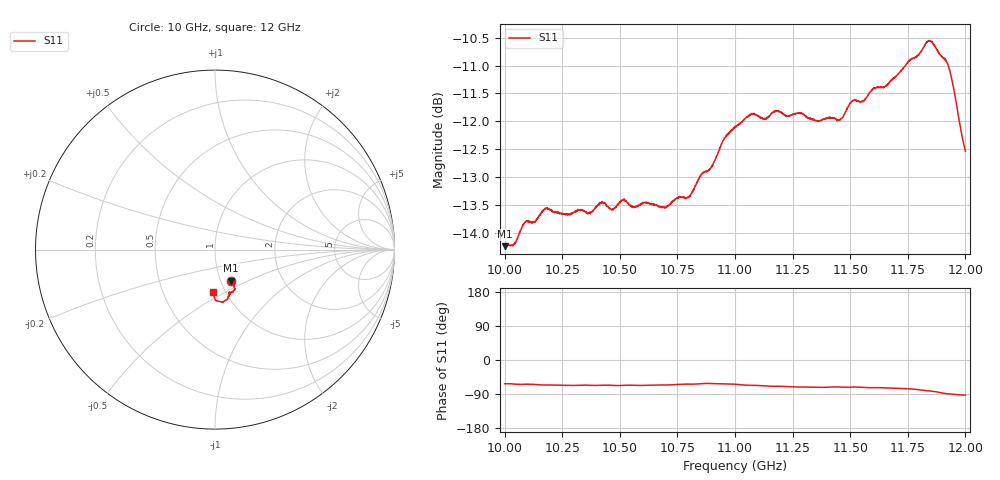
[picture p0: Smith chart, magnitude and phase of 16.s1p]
[Version] 2.0
! Rohde & Schwarz Vector Network Analyzer
! Rohde-Schwarz,ZNL20-2Port,1323001220200009,1.71.1.10-23.02.1.238
! Port Assignments:
! Nominal Port -> Actual Test Port
!  1 -> 1
! Created: GMT 2024-09-04 14:21:50
# Hz S DB R 50
[Number of Ports] 1
! freq[Hz]  S11[mag dB]  S11[ang]
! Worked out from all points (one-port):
!   2001 points, 10 GHz to 12 GHz, reference 50 ohm
!   lowest |S11| = -14.2 dB at 10 GHz (marker M1), VSWR 1.48, Z = 56 - j20.1 ohm
!   |S11| at or under -10 dB: start of sweep to end of sweep
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[Number of Frequencies] 28
[Network Data]
1e10  -14.23 -62.7
1.0001e10  -14.24 -62.7
1.004e10  -14.21 -63.3
1.0087e10  -13.82 -64.0
1.0131e10  -13.80 -64.6
1.0175e10  -13.57 -66.0
1.025e10  -13.65 -67.0
1.0371e10  -13.65 -66.7
1.0424e10  -13.46 -66.5
1.0469e10  -13.57 -67.0
1.05e10  -13.44 -67.4
1.0692e10  -13.54 -65.8
1.075e10  -13.38 -64.5
1.0806e10  -13.33 -63.7
1.0872e10  -12.90 -61.8
1.0957e10  -12.29 -62.9
1.1e10  -12.09 -64.0
1.1074e10  -11.87 -66.9
1.125e10  -11.87 -70.9
1.137e10  -11.99 -72.1
1.1451e10  -11.97 -71.2
1.15e10  -11.67 -71.7
1.1654e10  -11.36 -73.7
1.175e10  -10.94 -75.8
1.1843e10  -10.56 -81.4
1.1914e10  -10.90 -88.6
1.194e10  -11.23 -90.1
1.2e10  -12.53 -92.4
[End]
